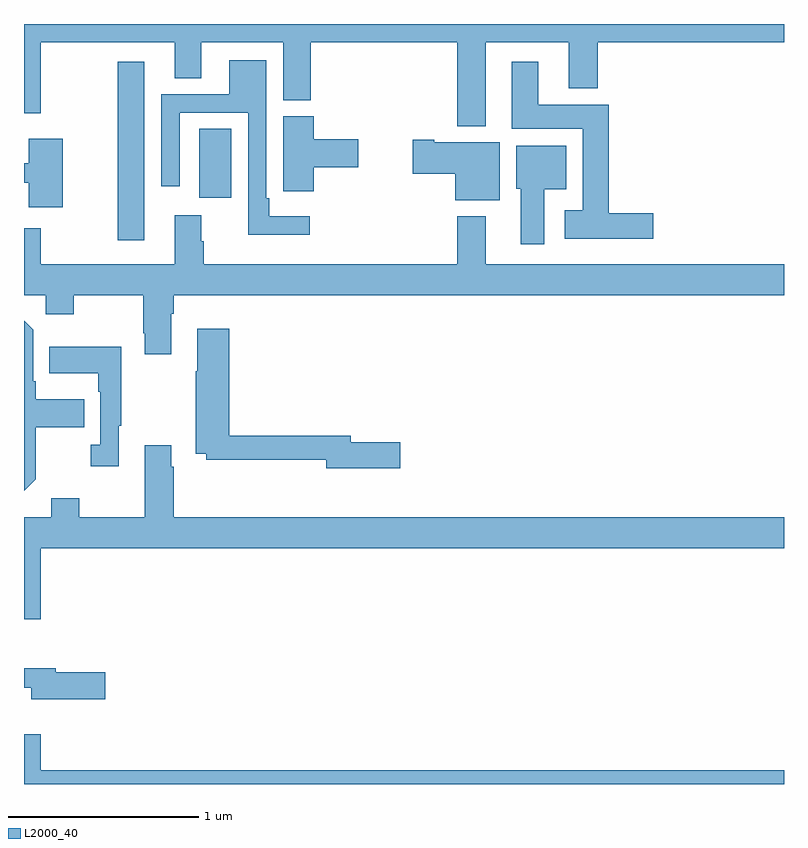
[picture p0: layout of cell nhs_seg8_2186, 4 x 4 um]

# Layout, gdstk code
import gdstk
lib = gdstk.Library(unit=1e-6, precision=1e-09)
def R(c, l, rs):  # rectangles x0, y0, x1, y1
    for r in rs: c.add(gdstk.rectangle(r[:2], r[2:], *l))
def P(c, l, *ps):  # polygons
    for p in ps: c.add(gdstk.Polygon(p, *l))
L2000_40 = (2000, 40)

nhs_seg8_2186 = lib.new_cell('nhs_seg8_2186')
R(nhs_seg8_2186, L2000_40, [(249.493,1144.761,249.634,1145.701), (249.923,1144.986,250.09,1145.348)])
P(nhs_seg8_2186, L2000_40, [(251.431,1145.804),(251.867,1145.804),(251.867,1145.561),(252.02,1145.561),(252.02,1145.804),(253,1145.804),(253,1145.9),(249,1145.9),(249,1145.43),(249.088,1145.43),(249.088,1145.804),(249.794,1145.804),(249.794,1145.614),(249.934,1145.614),(249.934,1145.804),(250.364,1145.804),(250.364,1145.5),(250.508,1145.5),(250.508,1145.804),(251.279,1145.804),(251.279,1145.363),(251.431,1145.363)],
  [(250.504,1144.888),(250.291,1144.888),(250.291,1144.984),(250.275,1144.984),(250.275,1145.71),(250.079,1145.71),(250.079,1145.529),(249.723,1145.529),(249.723,1145.046),(249.819,1145.046),(249.819,1145.433),(250.179,1145.433),(250.179,1144.79),(250.504,1144.79)],
  [(252.313,1144.904),(252.077,1144.904),(252.077,1145.476),(251.707,1145.476),(251.707,1145.701),(251.567,1145.701),(251.567,1145.348),(251.942,1145.348),(251.942,1144.921),(251.847,1144.921),(251.847,1144.769),(252.313,1144.769)],
  [(250.526,1145.147),(250.759,1145.147),(250.759,1145.294),(250.526,1145.294),(250.526,1145.415),(250.364,1145.415),(250.364,1145.131),(250.365,1145.131),(250.365,1145.019),(250.526,1145.019)],
  [(249.204,1145.296),(249.026,1145.296),(249.026,1145.168),(249,1145.168),(249,1145.065),(249.026,1145.065),(249.026,1144.935),(249.204,1144.935)],
  [(251.503,1145.278),(251.158,1145.278),(251.158,1145.291),(251.046,1145.291),(251.046,1145.113),(251.27,1145.113),(251.27,1144.973),(251.503,1144.973)],
  [(251.737,1145.03),(251.854,1145.03),(251.854,1145.26),(251.591,1145.26),(251.591,1145.034),(251.615,1145.034),(251.615,1144.74),(251.737,1144.74)],
  [(249.775,1144.376),(249.788,1144.376),(249.788,1144.472),(253,1144.472),(253,1144.636),(251.431,1144.636),(251.431,1144.888),(251.279,1144.888),(251.279,1144.636),(249.947,1144.636),(249.947,1144.757),(249.934,1144.757),(249.934,1144.894),(249.794,1144.894),(249.794,1144.636),(249.088,1144.636),(249.088,1144.825),(249,1144.825),(249,1144.472),(249.114,1144.472),(249.114,1144.373),(249.261,1144.373),(249.261,1144.472),(249.628,1144.472),(249.628,1144.273),(249.635,1144.273),(249.635,1144.161),(249.775,1144.161)],
  [(249.061,1143.505),(249.061,1143.778),(249.317,1143.778),(249.317,1143.925),(249.061,1143.925),(249.061,1144.021),(249.048,1144.021),(249.048,1144.29),(249,1144.338),(249,1143.444)],
  [(250.981,1143.698),(250.72,1143.698),(250.72,1143.734),(250.079,1143.734),(250.079,1144.297),(249.911,1144.297),(249.911,1144.073),(249.904,1144.073),(249.904,1143.638),(249.96,1143.638),(249.96,1143.606),(250.592,1143.606),(250.592,1143.563),(250.981,1143.563)],
  [(249.499,1143.785),(249.511,1143.785),(249.511,1144.201),(249.133,1144.201),(249.133,1144.061),(249.39,1144.061),(249.39,1143.965),(249.402,1143.965),(249.402,1143.686),(249.351,1143.686),(249.351,1143.573),(249.499,1143.573)],
  [(249.088,1143.14),(253,1143.14),(253,1143.304),(249.788,1143.304),(249.788,1143.569),(249.775,1143.569),(249.775,1143.682),(249.635,1143.682),(249.635,1143.304),(249.291,1143.304),(249.291,1143.403),(249.143,1143.403),(249.143,1143.304),(249,1143.304),(249,1142.766),(249.088,1142.766)],
  [(249.427,1142.489),(249.166,1142.489),(249.166,1142.51),(249,1142.51),(249,1142.407),(249.038,1142.407),(249.038,1142.347),(249.427,1142.347)],
  [(253,1141.972),(249.088,1141.972),(249.088,1142.161),(249,1142.161),(249,1141.9),(253,1141.9)])

lib.write_gds('nhs_seg8_2186.gds')
